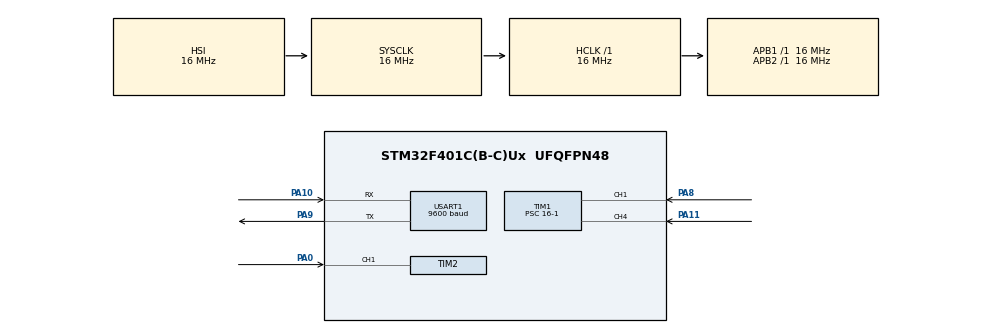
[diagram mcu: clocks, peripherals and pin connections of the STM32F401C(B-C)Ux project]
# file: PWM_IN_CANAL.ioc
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Mcu.Family=STM32F4
Mcu.Name=STM32F401C(B-C)Ux
Mcu.Package=UFQFPN48
NVIC.PriorityGroup=NVIC_PRIORITYGROUP_4
NVIC.TIM1_CC_IRQn=true\:1\:0\:true\:false\:true\:true\:true\:true
NVIC.TIM2_IRQn=true\:1\:0\:true\:false\:true\:true\:true\:true
PA0-WKUP.Signal=S_TIM2_CH1_ETR
PA10.Mode=Asynchronous
PA10.Signal=USART1_RX
PA11.Signal=S_TIM1_CH4
PA8.Signal=S_TIM1_CH1
PA9.Mode=Asynchronous
PA9.Signal=USART1_TX
ProjectManager.HeapSize=0x200
ProjectManager.StackSize=0x400
ProjectManager.TargetToolchain=STM32CubeIDE
RCC.AHBFreq_Value=16000000
RCC.APB1Freq_Value=16000000
RCC.APB2Freq_Value=16000000
RCC.CortexFreq_Value=16000000
RCC.HSE_VALUE=25000000
RCC.HSI_VALUE=16000000
RCC.LSE_VALUE=32768
RCC.SYSCLKFreq_VALUE=16000000
RCC.VCOOutputFreq_Value=192000000
SH.S_TIM1_CH1.0=TIM1_CH1,Input_Capture1_from_TI1
SH.S_TIM1_CH4.0=TIM1_CH4,Input_Capture4_from_TI4
SH.S_TIM2_CH1_ETR.0=TIM2_CH1,Input_Capture1_from_TI1
TIM1.AutoReloadPreload=TIM_AUTORELOAD_PRELOAD_ENABLE
TIM1.Channel-Input_Capture1_from_TI1=TIM_CHANNEL_1
TIM1.Channel-Input_Capture4_from_TI4=TIM_CHANNEL_4
TIM1.Prescaler=16-1
TIM2.AutoReloadPreload=TIM_AUTORELOAD_PRELOAD_ENABLE
TIM2.Channel-Input_Capture1_from_TI1=TIM_CHANNEL_1
TIM2.Prescaler=16-1
USART1.BaudRate=9600
USART1.VirtualMode=VM_ASYNC
VP_TIM1_VS_ClockSourceINT.Mode=Internal
board=custom

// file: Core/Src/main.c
/* USER CODE BEGIN Header */
/**
  ******************************************************************************
  * @file           : main.c
  * @brief          : Main program body
  ******************************************************************************
  * @attention
  *
  * Copyright (c) 2024 STMicroelectronics.
  * All rights reserved.
  *
  * This software is licensed under terms that can be found in the LICENSE file
  * in the root directory of this software component.
  * If no LICENSE file comes with this software, it is provided AS-IS.
  *
  ******************************************************************************
  */
/* USER CODE END Header */
#include "main.h"

/* USER CODE BEGIN Includes */
#include <PWM_IN.h>
#include "uart.h"

#include "stdio.h"
#include "stdlib.h"
#include "stdint.h"
#include "string.h"

/* USER CODE END Includes */

TIM_HandleTypeDef htim1;
TIM_HandleTypeDef htim2;

UART_HandleTypeDef huart1;

/* USER CODE BEGIN PV */
char texto[100];
uint32_t pulso1,pulso2,pulso3;
/* USER CODE END PV */

void SystemClock_Config(void);
static void MX_GPIO_Init(void);
static void MX_TIM1_Init(void);
static void MX_TIM2_Init(void);
static void MX_USART1_UART_Init(void);

int main(void)
{

  /* MCU Configuration--------------------------------------------------------*/

  /* Reset of all peripherals, Initializes the Flash interface and the Systick. */
  HAL_Init();

  /* Configure the system clock */
  SystemClock_Config();

  /* Initialize all configured peripherals */
  MX_GPIO_Init();
  MX_TIM1_Init();
  MX_TIM2_Init();
  MX_USART1_UART_Init();
  /* USER CODE BEGIN 2 */
  PWM_IN_init(&PWM_IN1);
  PWM_IN_init(&PWM_IN2);
  PWM_IN_init(&PWM_IN3);

  /* USER CODE END 2 */

  /* Infinite loop */
  /* USER CODE BEGIN WHILE */
  while (1)
  {

	  pulso1=PWM_IN1.pulso;
	  pulso2=PWM_IN2.pulso;
	  pulso3=PWM_IN3.pulso;

	  //limpia los pulso por si no se dan inetrrpciones
	  PWM_IN1.pulso=0;
	  PWM_IN2.pulso=0;
	  PWM_IN3.pulso=0;

 	   sprintf(texto,"PULSO1=%lu\r\n",pulso1);
 	  uartx_write_text(&huart1, texto);

 	 sprintf(texto,"PULSO2=%lu\r\n",pulso2);
 	 	  uartx_write_text(&huart1, texto);

 	 	  sprintf(texto,"PULSO3=%lu\r\n",pulso3);
 	 	  uartx_write_text(&huart1, texto);

    	uartx_write_text(&huart1, "\r\n");
    	uartx_write_text(&huart1, "\r\n");

	  	  HAL_Delay(100);

    /* USER CODE END WHILE */

  }
}

void SystemClock_Config(void)
{
  RCC_OscInitTypeDef RCC_OscInitStruct = {0};
  RCC_ClkInitTypeDef RCC_ClkInitStruct = {0};

  /** Configure the main internal regulator output voltage
  */
  __HAL_RCC_PWR_CLK_ENABLE();
  __HAL_PWR_VOLTAGESCALING_CONFIG(PWR_REGULATOR_VOLTAGE_SCALE2);

  /** Initializes the RCC Oscillators according to the specified parameters
  * in the RCC_OscInitTypeDef structure.
  */
  RCC_OscInitStruct.OscillatorType = RCC_OSCILLATORTYPE_HSI;
  RCC_OscInitStruct.HSIState = RCC_HSI_ON;
  RCC_OscInitStruct.HSICalibrationValue = RCC_HSICALIBRATION_DEFAULT;
  RCC_OscInitStruct.PLL.PLLState = RCC_PLL_NONE;
  if (HAL_RCC_OscConfig(&RCC_OscInitStruct) != HAL_OK)
  {
    Error_Handler();
  }

  /** Initializes the CPU, AHB and APB buses clocks
  */
  RCC_ClkInitStruct.ClockType = RCC_CLOCKTYPE_HCLK|RCC_CLOCKTYPE_SYSCLK
                              |RCC_CLOCKTYPE_PCLK1|RCC_CLOCKTYPE_PCLK2;
  RCC_ClkInitStruct.SYSCLKSource = RCC_SYSCLKSOURCE_HSI;
  RCC_ClkInitStruct.AHBCLKDivider = RCC_SYSCLK_DIV1;
  RCC_ClkInitStruct.APB1CLKDivider = RCC_HCLK_DIV1;
  RCC_ClkInitStruct.APB2CLKDivider = RCC_HCLK_DIV1;

  if (HAL_RCC_ClockConfig(&RCC_ClkInitStruct, FLASH_LATENCY_0) != HAL_OK)
  {
    Error_Handler();
  }
}

static void MX_TIM1_Init(void)
{

  TIM_ClockConfigTypeDef sClockSourceConfig = {0};
  TIM_MasterConfigTypeDef sMasterConfig = {0};
  TIM_IC_InitTypeDef sConfigIC = {0};

  htim1.Instance = TIM1;
  htim1.Init.Prescaler = 16-1;
  htim1.Init.CounterMode = TIM_COUNTERMODE_UP;
  htim1.Init.Period = 65535;
  htim1.Init.ClockDivision = TIM_CLOCKDIVISION_DIV1;
  htim1.Init.RepetitionCounter = 0;
  htim1.Init.AutoReloadPreload = TIM_AUTORELOAD_PRELOAD_ENABLE;
  if (HAL_TIM_Base_Init(&htim1) != HAL_OK)
  {
    Error_Handler();
  }
  sClockSourceConfig.ClockSource = TIM_CLOCKSOURCE_INTERNAL;
  if (HAL_TIM_ConfigClockSource(&htim1, &sClockSourceConfig) != HAL_OK)
  {
    Error_Handler();
  }
  if (HAL_TIM_IC_Init(&htim1) != HAL_OK)
  {
    Error_Handler();
  }
  sMasterConfig.MasterOutputTrigger = TIM_TRGO_RESET;
  sMasterConfig.MasterSlaveMode = TIM_MASTERSLAVEMODE_DISABLE;
  if (HAL_TIMEx_MasterConfigSynchronization(&htim1, &sMasterConfig) != HAL_OK)
  {
    Error_Handler();
  }
  sConfigIC.ICPolarity = TIM_INPUTCHANNELPOLARITY_RISING;
  sConfigIC.ICSelection = TIM_ICSELECTION_DIRECTTI;
  sConfigIC.ICPrescaler = TIM_ICPSC_DIV1;
  sConfigIC.ICFilter = 0;
  if (HAL_TIM_IC_ConfigChannel(&htim1, &sConfigIC, TIM_CHANNEL_1) != HAL_OK)
  {
    Error_Handler();
  }
  if (HAL_TIM_IC_ConfigChannel(&htim1, &sConfigIC, TIM_CHANNEL_4) != HAL_OK)
  {
    Error_Handler();
  }

}

static void MX_TIM2_Init(void)
{

  TIM_MasterConfigTypeDef sMasterConfig = {0};
  TIM_IC_InitTypeDef sConfigIC = {0};

  htim2.Instance = TIM2;
  htim2.Init.Prescaler = 16-1;
  htim2.Init.CounterMode = TIM_COUNTERMODE_UP;
  htim2.Init.Period = 4294967295;
  htim2.Init.ClockDivision = TIM_CLOCKDIVISION_DIV1;
  htim2.Init.AutoReloadPreload = TIM_AUTORELOAD_PRELOAD_ENABLE;
  if (HAL_TIM_IC_Init(&htim2) != HAL_OK)
  {
    Error_Handler();
  }
  sMasterConfig.MasterOutputTrigger = TIM_TRGO_RESET;
  sMasterConfig.MasterSlaveMode = TIM_MASTERSLAVEMODE_DISABLE;
  if (HAL_TIMEx_MasterConfigSynchronization(&htim2, &sMasterConfig) != HAL_OK)
  {
    Error_Handler();
  }
  sConfigIC.ICPolarity = TIM_INPUTCHANNELPOLARITY_RISING;
  sConfigIC.ICSelection = TIM_ICSELECTION_DIRECTTI;
  sConfigIC.ICPrescaler = TIM_ICPSC_DIV1;
  sConfigIC.ICFilter = 0;
  if (HAL_TIM_IC_ConfigChannel(&htim2, &sConfigIC, TIM_CHANNEL_1) != HAL_OK)
  {
    Error_Handler();
  }

}

static void MX_USART1_UART_Init(void)
{

  huart1.Instance = USART1;
  huart1.Init.BaudRate = 9600;
  huart1.Init.WordLength = UART_WORDLENGTH_8B;
  huart1.Init.StopBits = UART_STOPBITS_1;
  huart1.Init.Parity = UART_PARITY_NONE;
  huart1.Init.Mode = UART_MODE_TX_RX;
  huart1.Init.HwFlowCtl = UART_HWCONTROL_NONE;
  huart1.Init.OverSampling = UART_OVERSAMPLING_16;
  if (HAL_UART_Init(&huart1) != HAL_OK)
  {
    Error_Handler();
  }

}

static void MX_GPIO_Init(void)
{

  /* GPIO Ports Clock Enable */
  __HAL_RCC_GPIOA_CLK_ENABLE();

}

void Error_Handler(void)
{
  __disable_irq();
  while (1)
  {
  }
}
